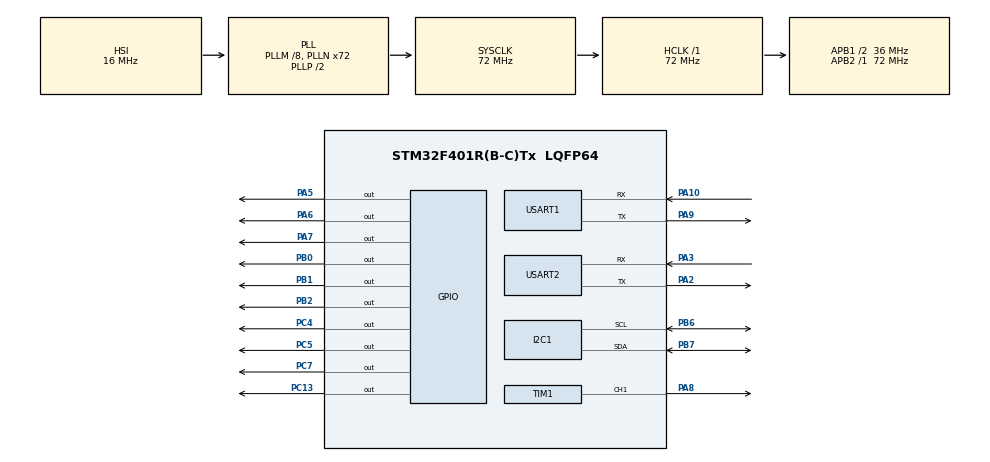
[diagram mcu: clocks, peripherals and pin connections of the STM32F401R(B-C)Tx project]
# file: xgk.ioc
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Mcu.Family=STM32F4
Mcu.Name=STM32F401R(B-C)Tx
Mcu.Package=LQFP64
NVIC.PriorityGroup=NVIC_PRIORITYGROUP_4
PA10.Mode=Asynchronous
PA10.Signal=USART1_RX
PA2.Mode=Asynchronous
PA2.Signal=USART2_TX
PA3.Mode=Asynchronous
PA3.Signal=USART2_RX
PA5.GPIO_Speed=GPIO_SPEED_FREQ_VERY_HIGH
PA5.Signal=GPIO_Output
PA6.GPIO_Speed=GPIO_SPEED_FREQ_VERY_HIGH
PA6.Signal=GPIO_Output
PA7.GPIO_Speed=GPIO_SPEED_FREQ_VERY_HIGH
PA7.Signal=GPIO_Output
PA8.Signal=S_TIM1_CH1
PA9.Mode=Asynchronous
PA9.Signal=USART1_TX
PB0.GPIO_Speed=GPIO_SPEED_FREQ_VERY_HIGH
PB0.Signal=GPIO_Output
PB1.GPIO_Speed=GPIO_SPEED_FREQ_VERY_HIGH
PB1.Signal=GPIO_Output
PB2.Signal=GPIO_Output
PB6.GPIO_Speed=GPIO_SPEED_FREQ_VERY_HIGH
PB6.Mode=I2C
PB6.Signal=I2C1_SCL
PB7.GPIO_Speed=GPIO_SPEED_FREQ_VERY_HIGH
PB7.Mode=I2C
PB7.Signal=I2C1_SDA
PC13-ANTI_TAMP.GPIO_Speed=GPIO_SPEED_FREQ_LOW
PC13-ANTI_TAMP.Signal=GPIO_Output
PC4.GPIO_Speed=GPIO_SPEED_FREQ_VERY_HIGH
PC4.Signal=GPIO_Output
PC5.GPIO_Speed=GPIO_SPEED_FREQ_VERY_HIGH
PC5.Signal=GPIO_Output
PC7.GPIO_Speed=GPIO_SPEED_FREQ_VERY_HIGH
PC7.PinState=GPIO_PIN_SET
PC7.Signal=GPIO_Output
PH0\ -\ OSC_IN.Mode=HSE-External-Oscillator
PH0\ -\ OSC_IN.Signal=RCC_OSC_IN
PH1\ -\ OSC_OUT.Mode=HSE-External-Oscillator
PH1\ -\ OSC_OUT.Signal=RCC_OSC_OUT
ProjectManager.HeapSize=0x400
ProjectManager.StackSize=0x400
ProjectManager.TargetToolchain=MDK-ARM V5.32
RCC.48MHZClocksFreq_Value=36000000
RCC.AHBFreq_Value=72000000
RCC.APB1CLKDivider=RCC_HCLK_DIV2
RCC.APB1Freq_Value=36000000
RCC.APB1TimFreq_Value=72000000
RCC.APB2Freq_Value=72000000
RCC.APB2TimFreq_Value=72000000
RCC.CortexFreq_Value=72000000
RCC.HCLKFreq_Value=72000000
RCC.HSE_VALUE=8000000
RCC.HSI_VALUE=16000000
RCC.LSE_VALUE=32768
RCC.PLLM=8
RCC.PLLN=72
RCC.SYSCLKFreq_VALUE=72000000
RCC.SYSCLKSource=RCC_SYSCLKSOURCE_PLLCLK
RCC.VCOOutputFreq_Value=144000000
SH.S_TIM1_CH1.0=TIM1_CH1,PWM Generation1 CH1
TIM1.AutoReloadPreload=TIM_AUTORELOAD_PRELOAD_ENABLE
TIM1.Channel-PWM\ Generation1\ CH1=TIM_CHANNEL_1
TIM1.Period=19999
TIM1.Prescaler=71
USART1.VirtualMode=VM_ASYNC
USART2.VirtualMode=VM_ASYNC
VP_TIM1_VS_ClockSourceINT.Mode=Internal
board=custom

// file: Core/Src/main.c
/* USER CODE BEGIN Header */
/**
  ******************************************************************************
  * @file           : main.c
  * @brief          : Main program body
  ******************************************************************************
  * @attention
  *
  * Copyright (c) 2024 STMicroelectronics.
  * All rights reserved.
  *
  * This software is licensed under terms that can be found in the LICENSE file
  * in the root directory of this software component.
  * If no LICENSE file comes with this software, it is provided AS-IS.
  *
  ******************************************************************************
  */
/* USER CODE END Header */
#include "main.h"
#include "i2c.h"
#include "tim.h"
#include "usart.h"
#include "gpio.h"

/* USER CODE BEGIN Includes */

#include <stdio.h>
#include <string.h>
#include <stdlib.h>

/* USER CODE END Includes */

void SystemClock_Config(void);

/* USER CODE BEGIN 0 */

//////////////////////////////////////////////////////  步进电机驱动  /////////////////////////////////////////////////////////

// 定义步进电机的引脚
#define IN1_PIN_1 GPIO_PIN_5
#define IN2_PIN_1 GPIO_PIN_6
#define IN3_PIN_1 GPIO_PIN_7
#define IN4_PIN_1 GPIO_PIN_4
#define IN1_PORT_1 GPIOA
#define IN2_PORT_1 GPIOA
#define IN3_PORT_1 GPIOA
#define IN4_PORT_1 GPIOC

#define IN1_PIN_2 GPIO_PIN_5
#define IN2_PIN_2 GPIO_PIN_0
#define IN3_PIN_2 GPIO_PIN_1
#define IN4_PIN_2 GPIO_PIN_2
#define IN1_PORT_2 GPIOC
#define IN2_PORT_2 GPIOB
#define IN3_PORT_2 GPIOB
#define IN4_PORT_2 GPIOB

// 步进电机的步骤序列
const uint8_t step_sequence[8] = {0x1,0x2,0x4,0x8,0x1,0x2,0x4,0x8};

// 步进电机正转函数
void motor_forward(int motor, uint32_t delay_ms) {
	if(motor == 0){
    for (int i = 0; i < 8; i++) {
        if (step_sequence[i] & 0x01) HAL_GPIO_WritePin(IN1_PORT_1, IN1_PIN_1, GPIO_PIN_SET);
        else HAL_GPIO_WritePin(IN1_PORT_1, IN1_PIN_1, GPIO_PIN_RESET);

			  if (step_sequence[i] & 0x02) HAL_GPIO_WritePin(IN2_PORT_1, IN2_PIN_1, GPIO_PIN_SET);
        else HAL_GPIO_WritePin(IN2_PORT_1, IN2_PIN_1, GPIO_PIN_RESET);

			  if (step_sequence[i] & 0x04) HAL_GPIO_WritePin(IN3_PORT_1, IN3_PIN_1, GPIO_PIN_SET);
        else HAL_GPIO_WritePin(IN3_PORT_1, IN3_PIN_1, GPIO_PIN_RESET);

			  if (step_sequence[i] & 0x08) HAL_GPIO_WritePin(IN4_PORT_1, IN4_PIN_1, GPIO_PIN_SET);
        else HAL_GPIO_WritePin(IN4_PORT_1, IN4_PIN_1, GPIO_PIN_RESET);

			  HAL_Delay(delay_ms);
    }
	}
	else if(motor == 1){
		for (int i = 0; i < 8; i++) {
        if (step_sequence[i] & 0x01) HAL_GPIO_WritePin(IN1_PORT_2, IN1_PIN_2, GPIO_PIN_SET);
        else HAL_GPIO_WritePin(IN1_PORT_2, IN1_PIN_2, GPIO_PIN_RESET);

			  if (step_sequence[i] & 0x02) HAL_GPIO_WritePin(IN2_PORT_2, IN2_PIN_2, GPIO_PIN_SET);
        else HAL_GPIO_WritePin(IN2_PORT_2, IN2_PIN_2, GPIO_PIN_RESET);

			  if (step_sequence[i] & 0x04) HAL_GPIO_WritePin(IN3_PORT_2, IN3_PIN_2, GPIO_PIN_SET);
        else HAL_GPIO_WritePin(IN3_PORT_2, IN3_PIN_2, GPIO_PIN_RESET);

			  if (step_sequence[i] & 0x08) HAL_GPIO_WritePin(IN4_PORT_2, IN4_PIN_2, GPIO_PIN_SET);
        else HAL_GPIO_WritePin(IN4_PORT_2, IN4_PIN_2, GPIO_PIN_RESET);

			  HAL_Delay(delay_ms);
    }
	}
}

// 步进电机反转函数
void motor_backward(int motor, uint32_t delay_ms) {
	if(motor == 0){
    for (int i = 7; i >= 0; i--) {
        if (step_sequence[i] & 0x01) HAL_GPIO_WritePin(IN1_PORT_1, IN1_PIN_1, GPIO_PIN_SET);
        else HAL_GPIO_WritePin(IN1_PORT_1, IN1_PIN_1, GPIO_PIN_RESET);

        if (step_sequence[i] & 0x02) HAL_GPIO_WritePin(IN2_PORT_1, IN2_PIN_1, GPIO_PIN_SET);
        else HAL_GPIO_WritePin(IN2_PORT_1, IN2_PIN_1, GPIO_PIN_RESET);

        if (step_sequence[i] & 0x04) HAL_GPIO_WritePin(IN3_PORT_1, IN3_PIN_1, GPIO_PIN_SET);
        else HAL_GPIO_WritePin(IN3_PORT_1, IN3_PIN_1, GPIO_PIN_RESET);

        if (step_sequence[i] & 0x08) HAL_GPIO_WritePin(IN4_PORT_1, IN4_PIN_1, GPIO_PIN_SET);
        else HAL_GPIO_WritePin(IN4_PORT_1, IN4_PIN_1, GPIO_PIN_RESET);

        HAL_Delay(delay_ms);
    }
	}
	else if(motor == 1){
		for (int i = 7; i >= 0; i--) {
        if (step_sequence[i] & 0x01) HAL_GPIO_WritePin(IN1_PORT_2, IN1_PIN_2, GPIO_PIN_SET);
        else HAL_GPIO_WritePin(IN1_PORT_2, IN1_PIN_2, GPIO_PIN_RESET);

        if (step_sequence[i] & 0x02) HAL_GPIO_WritePin(IN2_PORT_2, IN2_PIN_2, GPIO_PIN_SET);
        else HAL_GPIO_WritePin(IN2_PORT_2, IN2_PIN_2, GPIO_PIN_RESET);

        if (step_sequence[i] & 0x04) HAL_GPIO_WritePin(IN3_PORT_2, IN3_PIN_2, GPIO_PIN_SET);
        else HAL_GPIO_WritePin(IN3_PORT_2, IN3_PIN_2, GPIO_PIN_RESET);

        if (step_sequence[i] & 0x08) HAL_GPIO_WritePin(IN4_PORT_2, IN4_PIN_2, GPIO_PIN_SET);
        else HAL_GPIO_WritePin(IN4_PORT_2, IN4_PIN_2, GPIO_PIN_RESET);

        HAL_Delay(delay_ms);
    }
	}
}

///////////////////////////////////////////////////////  PCA9685 驱动  /////////////////////////////////////////////////////////////////

#ifndef _PCA9685_H
#define _PCA9685_H

void PCA9685_Init();

// channel: 0 ~ 15
//      on: 0 ~ 4095
//     off: 0 ~ 4095
void PCA9685_SetChannelDuty(uint8_t channel, uint32_t on, uint32_t off);

#endif

#define PCA9685_I2C_ADDR 0x40

#define MODE1       0x00
#define MODE2       0x01
#define SUBADR1     0x02
#define SUBADR2     0x03
#define SUBADR3     0x04
#define ALLCALLADR  0x05
#define LED0_ON_L   0x06
#define LED0_ON_H   0x07
#define LED0_OFF_L  0x08
#define LED0_OFF_H  0x09
#define LED1_ON_L   0x0A
#define LED1_ON_H   0x0B
#define LED1_OFF_L  0x0C
#define LED1_OFF_H  0x0D
#define LED2_ON_L   0x0E
#define LED2_ON_H   0x0F
#define LED2_OFF_L  0x10
#define LED2_OFF_H  0x11
#define LED3_ON_L   0x12
#define LED3_ON_H   0x13
#define LED3_OFF_L  0x14
#define LED3_OFF_H  0x15
#define LED4_ON_L   0x16
#define LED4_ON_H   0x17
#define LED4_OFF_L  0x18
#define LED4_OFF_H  0x19
#define LED5_ON_L   0x1A
#define LED5_ON_H   0x1B
#define LED5_OFF_L  0x1C
#define LED5_OFF_H  0x1D
#define LED6_ON_L   0x1E
#define LED6_ON_H   0x1F
#define LED6_OFF_L  0x20
#define LED6_OFF_H  0x21
#define LED7_ON_L   0x22
#define LED7_ON_H   0x23
#define LED7_OFF_L  0x24
#define LED7_OFF_H  0x25
#define LED8_ON_L   0x26
#define LED8_ON_H   0x27
#define LED8_OFF_L  0x28
#define LED8_OFF_H  0x29
#define LED9_ON_L   0x2A
#define LED9_ON_H   0x2B
#define LED9_OFF_L  0x2C
#define LED9_OFF_H  0x2D
#define LED10_ON_L  0x2E
#define LED10_ON_H  0x2F
#define LED10_OFF_L 0x30
#define LED10_OFF_H 0x31
#define LED11_ON_L  0x32
#define LED11_ON_H  0x33
#define LED11_OFF_L 0x34
#define LED11_OFF_H 0x35
#define LED12_ON_L  0x36
#define LED12_ON_H  0x37
#define LED12_OFF_L 0x38
#define LED12_OFF_H 0x39
#define LED13_ON_L  0x3A
#define LED13_ON_H  0x3B
#define LED13_OFF_L 0x3C
#define LED13_OFF_H 0x3D
#define LED14_ON_L  0x3E
#define LED14_ON_H  0x3F
#define LED14_OFF_L 0x40
#define LED14_OFF_H 0x41
#define LED15_ON_L  0x42
#define LED15_ON_H  0x43
#define LED15_OFF_L 0x44
#define LED15_OFF_H 0x45

#define PRE_SCALE  0xFE

#define MODE1_RESTART 0x80
#define MODE1_EXTCLK  0x40
#define MODE1_AI      0x20
#define MODE1_SLEEP   0x10
#define MODE1_ALLCALL 0x01

void PCA9685_WriteReg(uint8_t addr, uint8_t value) {
	uint8_t data[2] = {addr, value};
	HAL_I2C_Master_Transmit(&hi2c1, (PCA9685_I2C_ADDR<<1)&0xfe, data, 2, HAL_MAX_DELAY);
}

void PCA9685_ReadReg(uint8_t addr, uint8_t *value) {
	HAL_I2C_Master_Transmit(&hi2c1, (PCA9685_I2C_ADDR<<1)&0xfe, &addr, 1, HAL_MAX_DELAY);
	HAL_I2C_Master_Receive(&hi2c1, (PCA9685_I2C_ADDR<<1)|0x01, value, 1, HAL_MAX_DELAY);
}

void PCA9685_SetChannelDuty(uint8_t channel, uint32_t on, uint32_t off) {
    uint8_t data[5];

    data[0] = LED0_ON_L + 4*channel;
    data[1] = on & 0xff;
    data[2] = (on >> 8) & 0xff;
    data[3] = off & 0xff;
    data[4] = (off >> 8) & 0xff;

    HAL_I2C_Master_Transmit(&hi2c1, (PCA9685_I2C_ADDR << 1) & 0xfe, data, 5, HAL_MAX_DELAY);
		HAL_Delay(100);
}

void PCA9685_Init() {
	uint8_t value;

	PCA9685_WriteReg(MODE1, MODE1_SLEEP);
	PCA9685_WriteReg(PRE_SCALE, 121);
	PCA9685_WriteReg(MODE1, 0);
	PCA9685_WriteReg(MODE1, MODE1_RESTART | MODE1_AI | MODE1_ALLCALL);

	while (1) {
		PCA9685_ReadReg(MODE1, &value);
		if ((value & MODE1_RESTART)==0) {
			break;
		}
		HAL_Delay(100);
	}
}

////////////////////////////////////////////////////////////////////  SG90 驱动  ////////////////////////////////////////////////////

#ifndef _SG90_H
#define _SG90_H

#define TIMER htim1

void SG90_Init();
void SG90_SetAngle(uint8_t id, uint8_t angle);
void SG90_TurnToDegree(int angle);

#endif

void wError_Handler(void)
{
	// 错误处理代码
	while(1){
		HAL_GPIO_TogglePin(GPIOC, GPIO_PIN_7);
		HAL_Delay(500);
	}
}

// 管脚是 PA0
void SG90_TurnToDegree(int angle){
	unsigned dutyCycle = 0;
	dutyCycle = 1000 + (unsigned)angle * 1000 / 180;

  // 设置PWM的占空比
  TIM_OC_InitTypeDef sConfigOC = {0};

	sConfigOC.OCMode = TIM_OCMODE_PWM1;
  sConfigOC.Pulse = dutyCycle;
  sConfigOC.OCPolarity = TIM_OCPOLARITY_HIGH;
  sConfigOC.OCNPolarity = TIM_OCNPOLARITY_HIGH;
  sConfigOC.OCFastMode = TIM_OCFAST_DISABLE;
  sConfigOC.OCIdleState = TIM_OCIDLESTATE_RESET;
  sConfigOC.OCNIdleState = TIM_OCNIDLESTATE_RESET;
  if (HAL_TIM_PWM_ConfigChannel(&TIMER, &sConfigOC, TIM_CHANNEL_1) != HAL_OK)
  {
    wError_Handler();
  }

  HAL_TIM_PWM_Start(&TIMER, TIM_CHANNEL_1);
}

void SG90_Init() {
	PCA9685_Init();
}

void SG90_SetAngle(uint8_t id, uint8_t angle) {
	//if(id != 0x00){
		PCA9685_SetChannelDuty(id, 0, (uint32_t)(4095*((angle/180.0)*2.0+0.5)/20.0));
	/*}
	else{
		int a = angle;
		char str[50];

		sprintf(str, "Angle: %d\r\n", a);
		printf("%s", str);

		SG90_TurnToDegree(a);
	}*/
}

/* USER CODE END 0 */

int main(void)
{

  /* MCU Configuration--------------------------------------------------------*/

  /* Reset of all peripherals, Initializes the Flash interface and the Systick. */
  HAL_Init();

  /* Configure the system clock */
  SystemClock_Config();

  /* Initialize all configured peripherals */
  MX_GPIO_Init();
  MX_I2C1_Init();
  MX_TIM1_Init();
  MX_USART1_UART_Init();
  MX_USART2_UART_Init();
  /* USER CODE BEGIN 2 */

	HAL_TIM_Base_Start(&TIMER);

	SG90_Init();

	int i = 0;

	// 初始旋转角度调试
	SG90_SetAngle(0, 0);
	SG90_SetAngle(1, 180);

	// 信息接收符号
	uint8_t psuc = 0x2a, pfal = 0x54, dsuc = 0xff, dfal = 0x00;
	uint8_t *pdata;

///////////////////////////////////////////////////////////////////////////////////////////////////////////////

	#define COUNT 7

	// 舵机编号队列
	uint8_t motor_id[COUNT] = {4, 5, 6, 0, 1, 7, 8};

///////////////////////////////////////////////////////////////////////////////////////////////////////////////

	// 舵机的旋转角度和舵机的 STEP 计数值
	int32_t sg90s_angel_byjs_step[COUNT];
	memset(sg90s_angel_byjs_step, 0, COUNT);

  /* USER CODE END 2 */

  /* Infinite loop */
  /* USER CODE BEGIN WHILE */

	/*
	 * 测试 CODE:
	 *
	 * 01 04 01 00 06
   * 00 02 01 5A
	 */
  while (1)
  {
		uint8_t prepare[5];
		memset(prepare, 0, 5);

    /* USER CODE END WHILE */

    /* USER CODE BEGIN 3 */

		HAL_UART_AbortReceive(&huart1);
		__HAL_UART_CLEAR_FLAG(&huart1, UART_FLAG_RXNE);

		// 接收报告描述符头
		HAL_UART_Receive(&huart1, prepare, 5, HAL_MAX_DELAY);

		// 进行校验
		uint16_t crc = (((uint16_t)(prepare[3])) << 8) + prepare[4];

		// 校验成功
		if((uint16_t)(prepare[0]) + prepare[1] + prepare[2] == crc){
			// 返回成功接收
			HAL_UART_Transmit(&huart1, &psuc, 1, HAL_MAX_DELAY);

			// 开始分配必要内存
			pdata = (uint8_t*)malloc((unsigned)prepare[1] * sizeof(uint8_t));
			memset(pdata, 0, prepare[1]);

			// 接收 16 位数据
			HAL_UART_Receive(&huart1, pdata, (uint16_t)prepare[1], HAL_MAX_DELAY);
			// 关闭 USART1
			HAL_UART_DeInit(&huart1);

			// 依次解析包内容
			uint8_t i = 0;
			for(; i < prepare[0]; ++i){
				// 如果要驱动的是步进电机
				if(pdata[4 * i] == 0x00){
					uint8_t id = motor_id[pdata[4 * i + 1]];

					// 绝对值
					if(pdata[4 * i + 2] == 0x00){
						int32_t current_pos = sg90s_angel_byjs_step[pdata[4 * i + 1]];

						// 如果电机位置在正向
						if (current_pos < (int32_t)pdata[4 * i + 3]){
							// 需要逆向旋转的度数
							int32_t pos = (int32_t)pdata[4 * i + 3] - current_pos, i = 0;

							for(; i < pos; ++i){
								motor_backward(id, 2);
							}
						}
						else if (current_pos > (int32_t)pdata[4 * i + 3]){
							// 需要正向旋转的度数
							int32_t pos = current_pos - (int32_t)pdata[4 * i + 3], i = 0;

							for(; i < pos; ++i){
								motor_forward(id, 2);
							}
						}
						else;

						// 统计步进电机的 STEP
						sg90s_angel_byjs_step[pdata[4 * i + 1]] = pdata[4 * i + 3];
					}
					// 相对值, 以0x80为界, 高的反转, 低的正转, 0x80正好是180度
					else if(pdata[4 * i + 2] == 0x01){
						// 逆时针旋转
						if(pdata[4 * i + 3] < 0x80){
							// 旋转 STEP
							int8_t angel = 0x80 - pdata[4 * i + 3], j = 0;

							for (; j < angel; ++j){
								motor_forward(id, 2);
							}
							// 统计步进电机的 STEP
							sg90s_angel_byjs_step[pdata[4 * i + 1]] -= angel;
						}
						else if(pdata[4 * i + 3] > 0x80){
							// 旋转 STEP, 0x00不能使用, 范围为: 0x01 到 0xff
							int8_t angel = pdata[4 * i + 3] - 0x80, j = 0;

							for (; j < angel; ++j){
								motor_backward(id, 2);
							}
							// 统计步进电机的 STEP
							sg90s_angel_byjs_step[pdata[4 * i + 1]] += angel;
						}
						else;
					}
					else{
						++dfal;
						break;
					}
				}
				// 如果要驱动的是舵机
				else if(pdata[4 * i] == 0x01){
					uint8_t id = motor_id[pdata[4 * i + 1]];

					// 绝对值
					if(pdata[4 * i + 2] == 0x00){
						// 旋转 STEP, 范围 0x00 到 0xb4
						int8_t angel = pdata[4 * i + 3];

						SG90_SetAngle(id, angel);
						sg90s_angel_byjs_step[pdata[4 * i + 1]] = angel;
					}
					// 相对值, 以0x80为界, 高的反转, 低的正转
					else if(pdata[4 * i + 2] == 0x01){
						// 如果要逆时针旋转
						if(pdata[4 * i + 1] < 0x80){
							int8_t angel = 0x80 - pdata[4 * i + 3];

							// 如果逆时针越界
							if(angel > sg90s_angel_byjs_step[pdata[4 * i + 1]]){
								SG90_SetAngle(id, 0);
								sg90s_angel_byjs_step[pdata[4 * i + 1]] = 0;
							}
							else{
								// 先类型转换, 再进行赋值
								sg90s_angel_byjs_step[pdata[4 * i + 1]] -= angel;
								SG90_SetAngle(id, (int)sg90s_angel_byjs_step[pdata[4 * i + 1]]);
							}
						}
						// 如果要顺时针旋转
						else if(pdata[4 * i + 1] > 0x80){
							int8_t angel = pdata[4 * i + 3] - 0x80;

							// 如果逆时针越界
							if(angel > 0x0100 - (uint16_t)sg90s_angel_byjs_step[pdata[4 * i + 1]]){
								SG90_SetAngle(id, 180);
								// 这是 int32_t 不需要考虑容量
								sg90s_angel_byjs_step[pdata[4 * i + 1]] = 0xb4;
							}
							else{
								// 先类型转换, 再进行赋值
								sg90s_angel_byjs_step[pdata[4 * i + 1]] -= angel;
								SG90_SetAngle(id, (int)sg90s_angel_byjs_step[pdata[4 * i + 1]]);
							}
						}
						else;
					}
					else{
						++dfal;
						break;
					}
				}
				// 如果出现了字节错误
				else{
					++dfal;
				}
			}
			// 释放动态内存
			free(pdata);
			// 重启 USART1
			HAL_UART_Init(&huart1);
			// 检查错误
			if(dfal){
				memset(prepare, 0, 5);
				HAL_UART_Transmit(&huart1, &dfal, 1, HAL_MAX_DELAY);
				dfal = 0x00;
			}
			else{
				HAL_UART_Transmit(&huart1, &dsuc, 1, HAL_MAX_DELAY);
				memset(prepare, 0, 5);
			}
		}
		// 校验失败
		else{
			// memset(prepare, 0, 5);
			int i = 0;
			for (; i < 5; ++i){
				prepare[i] = 0x00;
			}

			dfal = 0x00;
			// 返回错误值
			HAL_UART_Transmit(&huart1, &pfal, 1, HAL_MAX_DELAY);
		}

  }
  /* USER CODE END 3 */
}

void SystemClock_Config(void)
{
  RCC_OscInitTypeDef RCC_OscInitStruct = {0};
  RCC_ClkInitTypeDef RCC_ClkInitStruct = {0};

  /** Configure the main internal regulator output voltage
  */
  __HAL_RCC_PWR_CLK_ENABLE();
  __HAL_PWR_VOLTAGESCALING_CONFIG(PWR_REGULATOR_VOLTAGE_SCALE2);

  /** Initializes the RCC Oscillators according to the specified parameters
  * in the RCC_OscInitTypeDef structure.
  */
  RCC_OscInitStruct.OscillatorType = RCC_OSCILLATORTYPE_HSI;
  RCC_OscInitStruct.HSIState = RCC_HSI_ON;
  RCC_OscInitStruct.HSICalibrationValue = RCC_HSICALIBRATION_DEFAULT;
  RCC_OscInitStruct.PLL.PLLState = RCC_PLL_ON;
  RCC_OscInitStruct.PLL.PLLSource = RCC_PLLSOURCE_HSI;
  RCC_OscInitStruct.PLL.PLLM = 8;
  RCC_OscInitStruct.PLL.PLLN = 72;
  RCC_OscInitStruct.PLL.PLLP = RCC_PLLP_DIV2;
  RCC_OscInitStruct.PLL.PLLQ = 4;
  if (HAL_RCC_OscConfig(&RCC_OscInitStruct) != HAL_OK)
  {
    Error_Handler();
  }

  /** Initializes the CPU, AHB and APB buses clocks
  */
  RCC_ClkInitStruct.ClockType = RCC_CLOCKTYPE_HCLK|RCC_CLOCKTYPE_SYSCLK
                              |RCC_CLOCKTYPE_PCLK1|RCC_CLOCKTYPE_PCLK2;
  RCC_ClkInitStruct.SYSCLKSource = RCC_SYSCLKSOURCE_PLLCLK;
  RCC_ClkInitStruct.AHBCLKDivider = RCC_SYSCLK_DIV1;
  RCC_ClkInitStruct.APB1CLKDivider = RCC_HCLK_DIV2;
  RCC_ClkInitStruct.APB2CLKDivider = RCC_HCLK_DIV1;

  if (HAL_RCC_ClockConfig(&RCC_ClkInitStruct, FLASH_LATENCY_2) != HAL_OK)
  {
    Error_Handler();
  }
}

void Error_Handler(void)
{
  __disable_irq();
  while (1)
  {
  }
}
